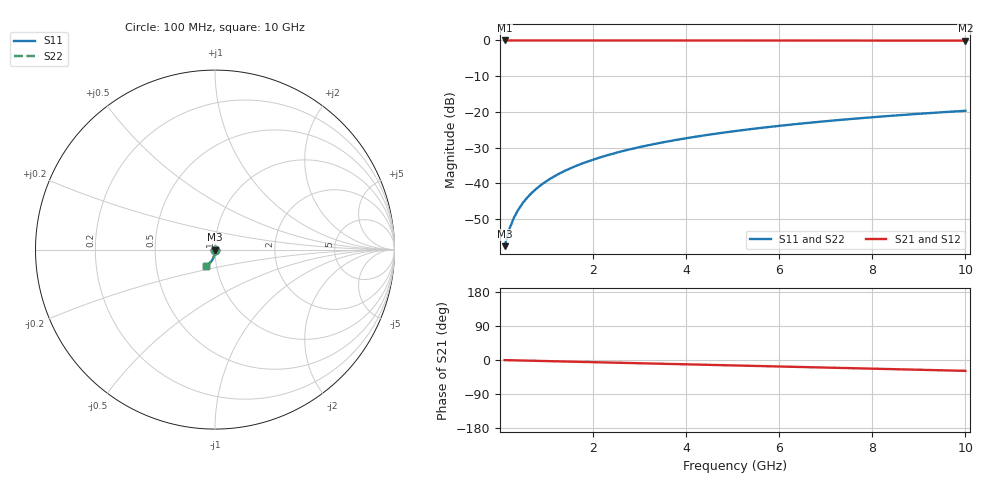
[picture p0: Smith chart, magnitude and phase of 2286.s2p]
# Hz S RI R 50.00
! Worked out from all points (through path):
!   100 points, 100 MHz to 10 GHz, reference 50 ohm
!   highest |S21| = -0.01 dB at 100 MHz (marker M1); lowest = -0.1 dB at 10 GHz (marker M2)
!   group delay of S21, straight-line fit = 7.95 ps
!   lowest |S11| = -57.5 dB at 100 MHz (marker M3), VSWR 1.00, Z = 50.1 - j0.108 ohm
!   |S11| at or under -10 dB: start of sweep to end of sweep
!   |S22| runs from -57.5 to -19.7 dB; largest |S21 - S12| = 0
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1e8  0.000773 -0.00108  0.9992 -0.00496  0.9992 -0.00496  0.000773 -0.00108
2e8  0.000759 -0.00216  0.9992 -0.00993  0.9992 -0.00993  0.000759 -0.00216
3e8  0.000734 -0.00323  0.9991 -0.0149  0.9991 -0.0149  0.000734 -0.00323
4e8  0.000697 -0.00431  0.999 -0.0199  0.999 -0.0199  0.000697 -0.00431
5e8  0.000648 -0.00539  0.9989 -0.0248  0.9989 -0.0248  0.000648 -0.00539
6e8  0.000589 -0.00646  0.9987 -0.0298  0.9987 -0.0298  0.000589 -0.00646
7e8  0.000519 -0.00754  0.9985 -0.0347  0.9985 -0.0347  0.000519 -0.00754
8e8  0.000438 -0.00862  0.9983 -0.0397  0.9983 -0.0397  0.000438 -0.00862
9e8  0.000346 -0.00969  0.9981 -0.0447  0.9981 -0.0447  0.000346 -0.00969
1.1e9  0.00013 -0.0118  0.9976 -0.0546  0.9976 -0.0546  0.00013 -0.0118
1.4e9  -0.000274 -0.0151  0.9966 -0.0695  0.9966 -0.0695  -0.000274 -0.0151
1.8e9  -0.000963 -0.0193  0.9949 -0.0893  0.9949 -0.0893  -0.000963 -0.0193
2.1e9  -0.00159 -0.0225  0.9934 -0.1041  0.9934 -0.1041  -0.00159 -0.0225
2.5e9  -0.00258 -0.0267  0.991 -0.1239  0.991 -0.1239  -0.00258 -0.0267
2.9e9  -0.00373 -0.0309  0.9882 -0.1436  0.9882 -0.1436  -0.00373 -0.0309
3.4e9  -0.00541 -0.0361  0.9841 -0.1681  0.9841 -0.1681  -0.00541 -0.0361
4.2e9  -0.00862 -0.0441  0.9763 -0.2072  0.9763 -0.2072  -0.00862 -0.0441
5.1e9  -0.013 -0.0529  0.9655 -0.2507  0.9655 -0.2507  -0.013 -0.0529
5.9e9  -0.0175 -0.0603  0.9542 -0.2889  0.9542 -0.2889  -0.0175 -0.0603
6.7e9  -0.0227 -0.0674  0.9413 -0.3267  0.9413 -0.3267  -0.0227 -0.0674
8.4e9  -0.0353 -0.0809  0.9088 -0.405  0.9088 -0.405  -0.0353 -0.0809
1e10  -0.0491 -0.0914  0.872 -0.4757  0.872 -0.4757  -0.0491 -0.0914
